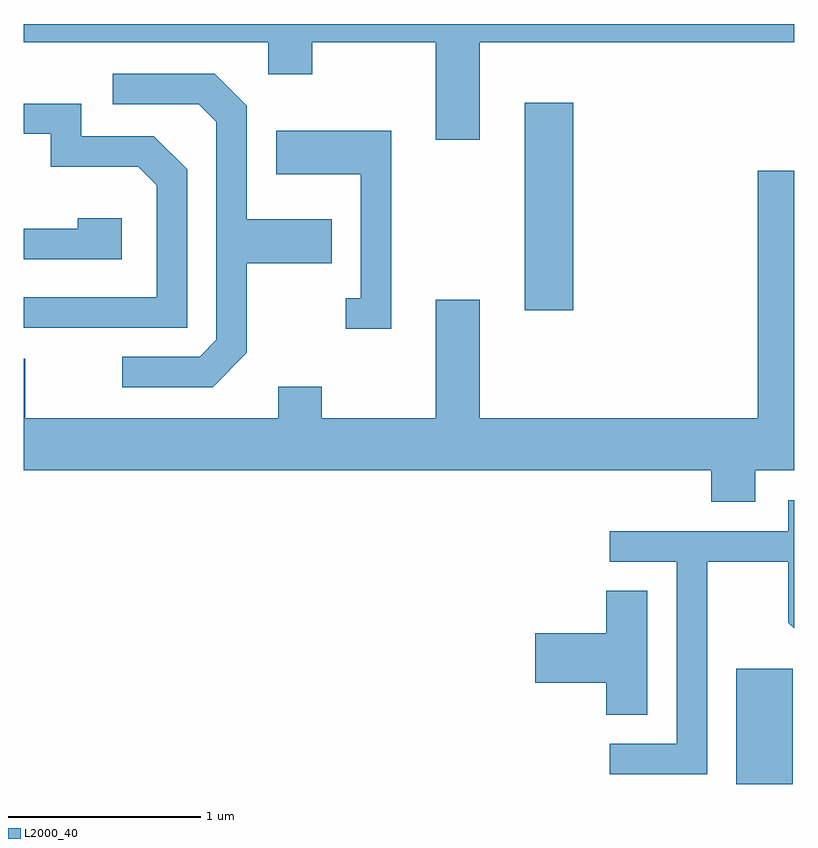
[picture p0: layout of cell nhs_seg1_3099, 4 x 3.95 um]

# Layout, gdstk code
import gdstk
lib = gdstk.Library(unit=1e-6, precision=1e-09)
def R(c, l, rs):  # rectangles x0, y0, x1, y1
    for r in rs: c.add(gdstk.rectangle(r[:2], r[2:], *l))
def P(c, l, *ps):  # polygons
    for p in ps: c.add(gdstk.Polygon(p, *l))
L2000_40 = (2000, 40)

nhs_seg1_3099 = lib.new_cell('nhs_seg1_3099')
R(nhs_seg1_3099, L2000_40, [(283.311,855.766,283.604,856.364), (282.211,858.226,282.464,859.304)])
P(nhs_seg1_3099, L2000_40, [(281.979,859.616),(283.611,859.616),(283.611,859.712),(279.611,859.712),(279.611,859.616),(280.881,859.616),(280.881,859.451),(281.109,859.451),(281.109,859.616),(281.751,859.616),(281.751,859.111),(281.979,859.111)],
  [(280.769,858.004),(280.769,858.471),(281.209,858.471),(281.209,858.699),(280.769,858.699),(280.769,859.287),(280.602,859.454),(280.073,859.454),(280.073,859.296),(280.519,859.296),(280.611,859.204),(280.611,858.072),(280.524,857.984),(280.123,857.984),(280.123,857.826),(280.592,857.826)],
  [(280.459,858.957),(280.287,859.129),(279.909,859.129),(279.909,859.299),(279.611,859.299),(279.611,859.141),(279.751,859.141),(279.751,858.971),(280.204,858.971),(280.301,858.874),(280.301,858.294),(279.611,858.294),(279.611,858.136),(280.459,858.136)],
  [(281.519,859.159),(280.921,859.159),(280.921,858.931),(281.361,858.931),(281.361,858.289),(281.283,858.289),(281.283,858.131),(281.519,858.131)],
  [(283.409,857.396),(283.611,857.396),(283.611,858.949),(283.421,858.949),(283.421,857.664),(281.979,857.664),(281.979,858.279),(281.751,858.279),(281.751,857.664),(281.159,857.664),(281.159,857.829),(280.931,857.829),(280.931,857.664),(279.619,857.664),(279.619,857.974),(279.611,857.974),(279.611,857.396),(283.181,857.396),(283.181,857.231),(283.409,857.231)],
  [(280.119,858.704),(279.891,858.704),(279.891,858.649),(279.611,858.649),(279.611,858.491),(280.119,858.491)],
  [(283.159,856.921),(283.581,856.921),(283.581,856.604),(283.611,856.574),(283.611,857.239),(283.581,857.239),(283.581,857.079),(282.653,857.079),(282.653,856.921),(283.001,856.921),(283.001,855.974),(282.653,855.974),(282.653,855.816),(283.159,855.816)],
  [(282.849,856.769),(282.636,856.769),(282.636,856.549),(282.266,856.549),(282.266,856.291),(282.636,856.291),(282.636,856.126),(282.849,856.126)])

lib.write_gds('nhs_seg1_3099.gds')
